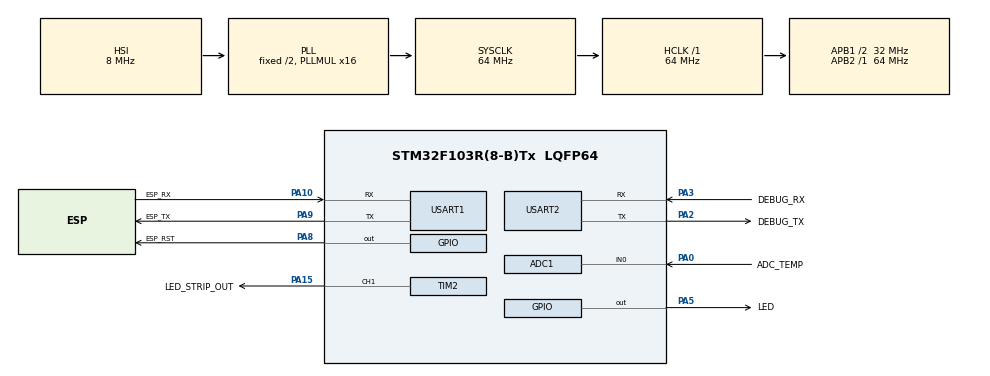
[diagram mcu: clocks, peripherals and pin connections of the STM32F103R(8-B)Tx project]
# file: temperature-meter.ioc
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ADC1.Channel-5\#ChannelRegularConversion=ADC_CHANNEL_0
ADC1.ContinuousConvMode=ENABLE
ADC1.NbrOfConversionFlag=1
ADC1.Rank-5\#ChannelRegularConversion=1
ADC1.SamplingTime-5\#ChannelRegularConversion=ADC_SAMPLETIME_13CYCLES_5
ADC1.master=1
Dma.Request0=TIM2_CH1
Dma.TIM2_CH1.0.Direction=DMA_MEMORY_TO_PERIPH
Dma.TIM2_CH1.0.Instance=DMA1_Channel5
Dma.TIM2_CH1.0.MemDataAlignment=DMA_MDATAALIGN_HALFWORD
Dma.TIM2_CH1.0.MemInc=DMA_MINC_ENABLE
Dma.TIM2_CH1.0.Mode=DMA_NORMAL
Dma.TIM2_CH1.0.PeriphDataAlignment=DMA_PDATAALIGN_HALFWORD
Dma.TIM2_CH1.0.PeriphInc=DMA_PINC_DISABLE
Dma.TIM2_CH1.0.Priority=DMA_PRIORITY_HIGH
Mcu.Family=STM32F1
Mcu.Name=STM32F103R(8-B)Tx
Mcu.Package=LQFP64
NVIC.ADC1_2_IRQn=true\:0\:0\:false\:false\:true\:true\:true\:true
NVIC.DMA1_Channel5_IRQn=true\:0\:0\:false\:false\:true\:false\:true\:true
NVIC.PriorityGroup=NVIC_PRIORITYGROUP_4
NVIC.USART1_IRQn=true\:0\:0\:false\:false\:true\:true\:true\:true
PA0-WKUP.GPIO_Label=ADC_TEMP
PA0-WKUP.Signal=ADCx_IN0
PA10.GPIO_Label=ESP_RX
PA10.Mode=Asynchronous
PA10.Signal=USART1_RX
PA13.Mode=Serial_Wire
PA13.Signal=SYS_JTMS-SWDIO
PA14.Mode=Serial_Wire
PA14.Signal=SYS_JTCK-SWCLK
PA15.GPIO_Label=LED_STRIP_OUT
PA15.Signal=S_TIM2_CH1_ETR
PA2.GPIO_Label=DEBUG_TX
PA2.GPIO_Mode=GPIO_MODE_AF_PP
PA2.GPIO_PuPd=GPIO_NOPULL
PA2.GPIO_Speed=GPIO_SPEED_FREQ_LOW
PA2.Mode=Asynchronous
PA2.Signal=USART2_TX
PA3.GPIO_Label=DEBUG_RX
PA3.GPIO_Mode=GPIO_MODE_AF_PP
PA3.GPIO_PuPd=GPIO_NOPULL
PA3.GPIO_Speed=GPIO_SPEED_FREQ_LOW
PA3.Mode=Asynchronous
PA3.Signal=USART2_RX
PA5.GPIO_Label=LED
PA5.GPIO_ModeDefaultOutputPP=GPIO_MODE_OUTPUT_PP
PA5.GPIO_PuPd=GPIO_NOPULL
PA5.GPIO_Speed=GPIO_SPEED_FREQ_LOW
PA5.Signal=GPIO_Output
PA8.GPIO_Label=ESP_RST
PA8.PinState=GPIO_PIN_SET
PA8.Signal=GPIO_Output
PA9.GPIO_Label=ESP_TX
PA9.Mode=Asynchronous
PA9.Signal=USART1_TX
ProjectManager.HeapSize=0x200
ProjectManager.StackSize=0x400
ProjectManager.TargetToolchain=STM32CubeIDE
RCC.ADCPresc=RCC_ADCPCLK2_DIV6
RCC.AHBFreq_Value=64000000
RCC.APB1CLKDivider=RCC_HCLK_DIV2
RCC.APB1Freq_Value=32000000
RCC.APB1TimFreq_Value=64000000
RCC.APB2Freq_Value=64000000
RCC.APB2TimFreq_Value=64000000
RCC.HCLKFreq_Value=64000000
RCC.PLLMUL=RCC_PLL_MUL16
RCC.RTCClockSelection=RCC_RTCCLKSOURCE_LSE
RCC.SYSCLKFreq_VALUE=64000000
RCC.SYSCLKSource=RCC_SYSCLKSOURCE_PLLCLK
RCC.USBFreq_Value=64000000
SH.ADCx_IN0.0=ADC1_IN0,IN0
SH.S_TIM2_CH1_ETR.0=TIM2_CH1,PWM Generation1 CH1
TIM2.Channel-PWM\ Generation1\ CH1=TIM_CHANNEL_1
TIM2.Period=80-1
USART1.VirtualMode=VM_ASYNC
USART2.VirtualMode=VM_ASYNC
VP_TIM2_VS_ClockSourceINT.Mode=Internal
board=NUCLEO-F103RB

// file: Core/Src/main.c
/* USER CODE BEGIN Header */
/**
  ******************************************************************************
  * @file           : main.c
  * @brief          : Main program body
  ******************************************************************************
  * @attention
  *
  * Copyright (c) 2023 STMicroelectronics.
  * All rights reserved.
  *
  * This software is licensed under terms that can be found in the LICENSE file
  * in the root directory of this software component.
  * If no LICENSE file comes with this software, it is provided AS-IS.
  *
  ******************************************************************************
  */
/* USER CODE END Header */
#include "main.h"
#include "adc.h"
#include "dma.h"
#include "tim.h"
#include "usart.h"
#include "gpio.h"

void SystemClock_Config(void);

/* USER CODE BEGIN 0 */
void LED_Blinking() {
    for (uint8_t i = 0; i < 20; i++) {
        HAL_GPIO_TogglePin(LED_GPIO_Port, LED_Pin);
        HAL_Delay(20);
    }
}

/* USER CODE END 0 */

int main(void) {

    /* MCU Configuration--------------------------------------------------------*/

    /* Reset of all peripherals, Initializes the Flash interface and the Systick. */
    HAL_Init();

    /* Configure the system clock */
    SystemClock_Config();

    /* Initialize all configured peripherals */
    MX_GPIO_Init();
    MX_DMA_Init();
    MX_USART2_UART_Init();
    MX_ADC1_Init();
    MX_USART1_UART_Init();
    MX_TIM2_Init();
    /* USER CODE BEGIN 2 */
    RetargetInit(&huart2);
    debug(DEBUG_PRINT_INFO, DEVICE_CORE, "Initialization");
    LED_Blinking();
    debug(DEBUG_PRINT_INFO, DEVICE_CORE, "ADC Calibration");
    HAL_ADCEx_Calibration_Start(&hadc1);
    debug(DEBUG_PRINT_INFO, DEVICE_CORE, "ADC Starting");
    HAL_ADC_Start_IT(&hadc1);
    debug(DEBUG_PRINT_INFO, DEVICE_CORE, "LedStrip Init");
    LedController_OffAllLeds();
    debug(DEBUG_PRINT_INFO, DEVICE_CORE, "UART Ring Buffer Init");
    UART_RingBuf_Init();
    HAL_Delay(1000);
    debug(DEBUG_PRINT_INFO, DEVICE_CORE, "ESP Init");
    ESP_Init();
    debug(DEBUG_PRINT_INFO, DEVICE_CORE, "Device initialized");
    /* USER CODE END 2 */

    /* Infinite loop */
    /* USER CODE BEGIN WHILE */
    while (1) {
        debug(
                DEBUG_PRINT_INFO,
                DEVICE_CORE,
                "Temp -> %u.%u",
                Temperature_GetIntValue(),
                Temperature_GetDecValue()
        );
        LedController_OnLedsFromStart(Temperature_GetIntValue() - TEMP_START_VALUE);
        if (UART_RingBuf_IsDataAvailable())
        {
            ESP_Receive();
        }
        HAL_Delay(WORK_CYCLE);
        /* USER CODE END WHILE */

    }
}

void SystemClock_Config(void) {
    RCC_OscInitTypeDef RCC_OscInitStruct = {0};
    RCC_ClkInitTypeDef RCC_ClkInitStruct = {0};
    RCC_PeriphCLKInitTypeDef PeriphClkInit = {0};

    /** Initializes the RCC Oscillators according to the specified parameters
    * in the RCC_OscInitTypeDef structure.
    */
    RCC_OscInitStruct.OscillatorType = RCC_OSCILLATORTYPE_HSI;
    RCC_OscInitStruct.HSIState = RCC_HSI_ON;
    RCC_OscInitStruct.HSICalibrationValue = RCC_HSICALIBRATION_DEFAULT;
    RCC_OscInitStruct.PLL.PLLState = RCC_PLL_ON;
    RCC_OscInitStruct.PLL.PLLSource = RCC_PLLSOURCE_HSI_DIV2;
    RCC_OscInitStruct.PLL.PLLMUL = RCC_PLL_MUL16;
    if (HAL_RCC_OscConfig(&RCC_OscInitStruct) != HAL_OK) {
        Error_Handler();
    }

    /** Initializes the CPU, AHB and APB buses clocks
    */
    RCC_ClkInitStruct.ClockType = RCC_CLOCKTYPE_HCLK | RCC_CLOCKTYPE_SYSCLK
                                  | RCC_CLOCKTYPE_PCLK1 | RCC_CLOCKTYPE_PCLK2;
    RCC_ClkInitStruct.SYSCLKSource = RCC_SYSCLKSOURCE_PLLCLK;
    RCC_ClkInitStruct.AHBCLKDivider = RCC_SYSCLK_DIV1;
    RCC_ClkInitStruct.APB1CLKDivider = RCC_HCLK_DIV2;
    RCC_ClkInitStruct.APB2CLKDivider = RCC_HCLK_DIV1;

    if (HAL_RCC_ClockConfig(&RCC_ClkInitStruct, FLASH_LATENCY_2) != HAL_OK) {
        Error_Handler();
    }
    PeriphClkInit.PeriphClockSelection = RCC_PERIPHCLK_ADC;
    PeriphClkInit.AdcClockSelection = RCC_ADCPCLK2_DIV6;
    if (HAL_RCCEx_PeriphCLKConfig(&PeriphClkInit) != HAL_OK) {
        Error_Handler();
    }
}

void Error_Handler(void) {
    __disable_irq();
    while (1) {
    }
}
